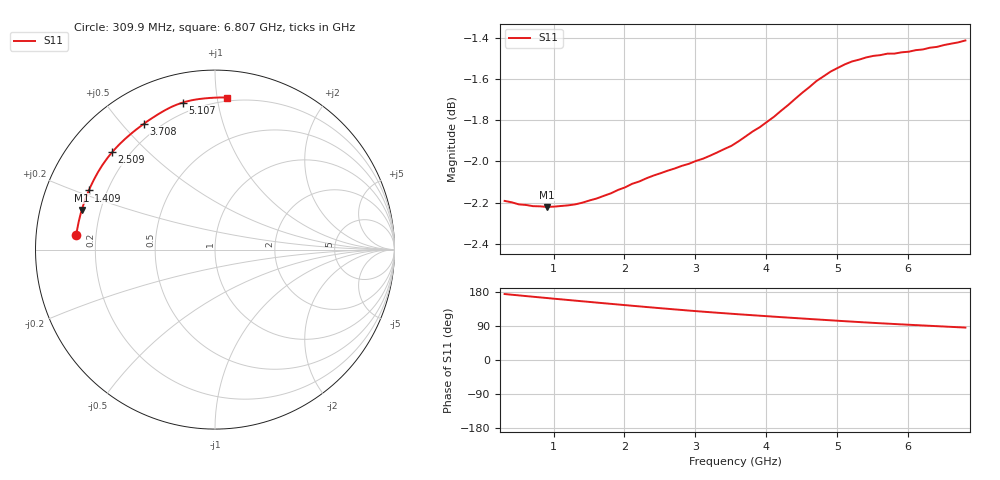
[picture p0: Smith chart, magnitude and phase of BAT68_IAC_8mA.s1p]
! Infineon Technologies  Discrete & RF Semiconductors
! BAT68
! IAC = 8 mA
! One-Port S-Parameters
# Hz  S  MA  R  50
!f  S11
!Hz  Mag  Ang
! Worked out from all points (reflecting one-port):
!   66 points, 309.9 MHz to 6.807 GHz, reference 50 ohm
!   lowest |S11| = -2.2 dB at 909.5 MHz (marker M1), VSWR 7.86, Z = 6.49 + j7.14 ohm
!   phase of S11 starts at 174 deg and turns -89 deg over the sweep
!   S11 on the Smith chart (normalised r, x): 309.9 MHz: 0.13, +0.05; 1.409 GHz: 0.13, +0.22; 2.509 GHz: 0.14, +0.39; 3.708 GHz: 0.14, +0.58; 5.107 GHz: 0.14, +0.79; 6.807 GHz: 0.17, +1.07
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3.0985e8  0.777 174.1
6.097e8  0.7752 168.7
9.0955e8  0.7743 163.5
1.0095e9  0.7745 161.7
1.2094e9  0.775 158.3
1.4093e9  0.7762 154.9
1.70915e9  0.7792 149.8
2.009e9  0.7829 144.8
2.2089e9  0.7855 141.5
2.30885e9  0.7869 139.9
2.50875e9  0.7891 136.6
2.8086e9  0.7924 132.0
2.90855e9  0.7933 130.4
3.10845e9  0.7955 127.5
3.30835e9  0.7983 124.7
3.6082e9  0.8033 120.7
3.70815e9  0.8055 119.4
4.008e9  0.8121 115.6
4.4078e9  0.8227 110.7
4.70765e9  0.8309 107.1
4.90755e9  0.8353 104.7
5.10745e9  0.8387 102.4
5.2074e9  0.84 101.3
5.4073e9  0.8419 99.0
5.6072e9  0.843 96.9
6.007e9  0.8446 93.0
6.30685e9  0.8465 90.2
6.8066e9  0.85 85.6
